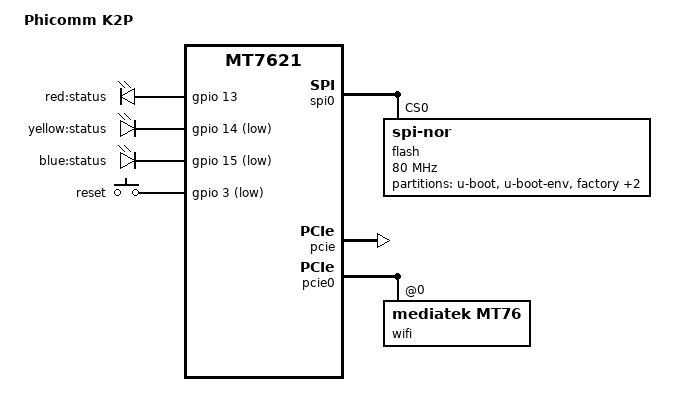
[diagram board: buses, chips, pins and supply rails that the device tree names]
#include "mt7621.dtsi"

#include <dt-bindings/gpio/gpio.h>
#include <dt-bindings/input/input.h>

/ {
	compatible = "phicomm,k2p", "mediatek,mt7621-soc";
	model = "Phicomm K2P";

	aliases {
		led-boot = &led_blue;
		led-failsafe = &led_blue;
		led-running = &led_blue;
		led-upgrade = &led_blue;
	};

	leds {
		compatible = "gpio-leds";

		stat_r {
			label = "red:status";
			gpios = <&gpio 13 GPIO_ACTIVE_HIGH>;
		};

		stat_y {
			label = "yellow:status";
			gpios = <&gpio 14 GPIO_ACTIVE_LOW>;
		};

		led_blue: stat_b {
			label = "blue:status";
			gpios = <&gpio 15 GPIO_ACTIVE_LOW>;
		};
	};

	keys {
		compatible = "gpio-keys";

		reset {
			label = "reset";
			gpios = <&gpio 3 GPIO_ACTIVE_LOW>;
			linux,code = <KEY_RESTART>;
		};
	};
};

&spi0 {
	status = "okay";

	flash@0 {
		compatible = "jedec,spi-nor";
		reg = <0>;
		spi-max-frequency = <80000000>;
		m25p,fast-read;

		partitions {
			compatible = "fixed-partitions";
			#address-cells = <1>;
			#size-cells = <1>;

			partition@0 {
				label = "u-boot";
				reg = <0x0 0x30000>;
				read-only;
			};

			partition@30000 {
				label = "u-boot-env";
				reg = <0x30000 0x10000>;
				read-only;
			};

			factory: partition@40000 {
				label = "factory";
				reg = <0x40000 0x10000>;
				read-only;
			};

			partition@50000 {
				label = "permanent_config";
				reg = <0x50000 0x50000>;
				read-only;
			};

			partition@a0000 {
				compatible = "denx,uimage";
				label = "firmware";
				reg = <0xa0000 0xf60000>;
			};
		};
	};
};

&pcie {
	status = "okay";
};

&pcie0 {
	wifi@0,0 {
		compatible = "mediatek,mt76";
		reg = <0x0000 0 0 0 0>;
		mediatek,mtd-eeprom = <&factory 0x0000>;
		mtd-mac-address = <&factory 0xe000>;
		nvmem-cells = <&macaddr_factory_e000>;
		nvmem-cell-names = "mac-address";
	};
};

&ethernet {
	compatible = "mediatek,ralink-mt7621-eth";
	mediatek,switch = <&gsw>;
	mtd-mac-address = <&factory 0xe000>;
	nvmem-cells = <&macaddr_factory_e000>;
	nvmem-cell-names = "mac-address";
};

&switch0 {
	/* must delete compatible property */
	/delete-property/ compatible;
	phy-mode = "rgmii";
};

&gsw {
	compatible = "mediatek,ralink-mt7621-gsw";
};

&state_default {
	gpio {
		groups = "i2c", "jtag";
		function = "gpio";
	};
};

&factory {
	compatible = "nvmem-cells";
	#address-cells = <1>;
	#size-cells = <1>;

	macaddr_factory_e000: macaddr@e000 {
		reg = <0xe000 0x6>;
	};

	macaddr_factory_e006: macaddr@e006 {
		reg = <0xe006 0x6>;
	};
};
